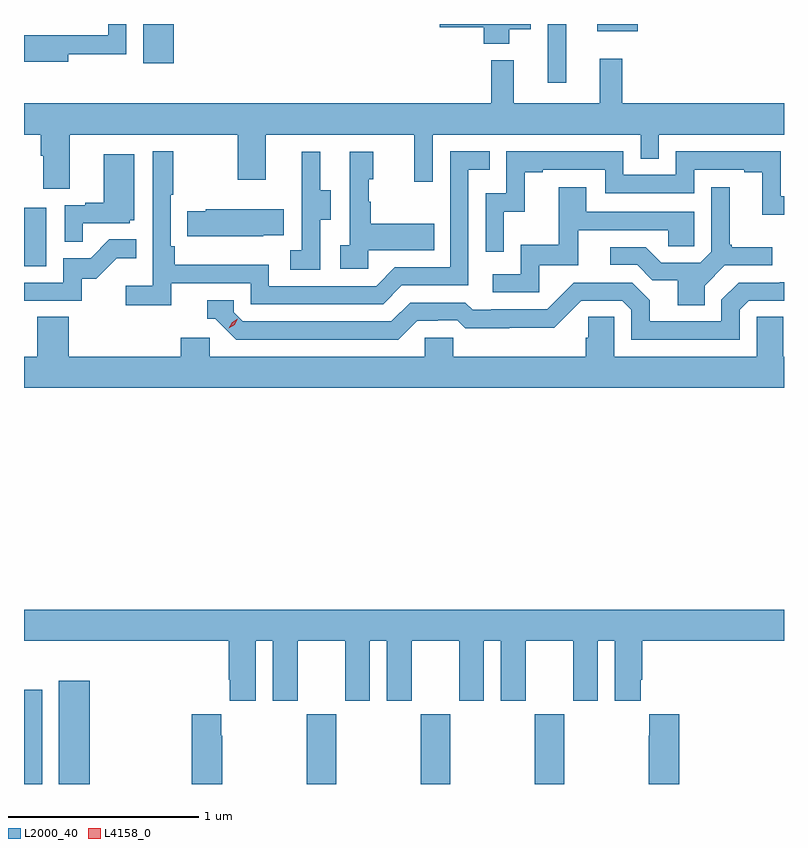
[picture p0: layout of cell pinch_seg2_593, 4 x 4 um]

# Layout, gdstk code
import gdstk
lib = gdstk.Library(unit=1e-6, precision=1e-09)
def R(c, l, rs):  # rectangles x0, y0, x1, y1
    for r in rs: c.add(gdstk.rectangle(r[:2], r[2:], *l))
def A(c, l, x, y, w, h, nx, ny, dx, dy):  # array of equal rectangles
    R(c, l, [(x+i*dx, y+j*dy, x+i*dx+w, y+j*dy+h) for i in range(nx) for j in range(ny)])
def P(c, l, *ps):  # polygons
    for p in ps: c.add(gdstk.Polygon(p, *l))
L2000_40 = (2000, 40)
L4158_0 = (4158, 0)

pinch_seg2_593 = lib.new_cell('pinch_seg2_593')
A(pinch_seg2_593, L2000_40, 1047.529, 613.582, 0.155, 0.366, 3, 1, 0.6, 0)
R(pinch_seg2_593, L2000_40, [(1046.041,613.582,1046.136,614.078), (1046.225,613.582,1046.386,614.125), (1046.041,616.308,1046.158,616.615), (1048.797,617.274,1048.894,617.582), (1046.669,617.376,1046.83,617.582), (1049.057,617.543,1049.272,617.582)])
P(pinch_seg2_593, L2000_40, [(1046.275,617.422),(1046.58,617.422),(1046.58,617.582),(1046.484,617.582),(1046.484,617.523),(1046.171,617.523),(1046.171,617.524),(1046.041,617.524),(1046.041,617.384),(1046.275,617.384)],
  [(1048.594,617.555),(1048.708,617.555),(1048.708,617.582),(1048.23,617.582),(1048.23,617.566),(1048.46,617.566),(1048.46,617.477),(1048.594,617.477)],
  [(1046.281,617),(1047.166,617),(1047.166,616.761),(1047.313,616.761),(1047.313,617),(1048.094,617),(1048.094,616.752),(1048.191,616.752),(1048.191,617),(1049.286,617),(1049.286,616.873),(1049.382,616.873),(1049.382,617),(1050.041,617),(1050.041,617.164),(1049.189,617.164),(1049.189,617.398),(1049.072,617.398),(1049.072,617.164),(1048.619,617.164),(1048.619,617.392),(1048.501,617.392),(1048.501,617.164),(1046.041,617.164),(1046.041,617),(1046.129,617),(1046.129,616.888),(1046.141,616.888),(1046.141,616.714),(1046.281,616.714)],
  [(1046.816,616.218),(1047.234,616.218),(1047.234,616.107),(1047.931,616.107),(1048.03,616.206),(1048.38,616.206),(1048.38,616.815),(1048.493,616.815),(1048.493,616.911),(1048.284,616.911),(1048.284,616.302),(1047.993,616.302),(1047.894,616.203),(1047.33,616.203),(1047.33,616.315),(1046.834,616.315),(1046.834,616.411),(1046.814,616.411),(1046.814,616.684),(1046.827,616.684),(1046.827,616.912),(1046.718,616.912),(1046.718,616.204),(1046.577,616.204),(1046.577,616.102),(1046.816,616.102)],
  [(1048.566,616.595),(1048.676,616.595),(1048.676,616.803),(1048.771,616.803),(1048.771,616.815),(1049.1,616.815),(1049.1,616.692),(1049.568,616.692),(1049.568,616.815),(1049.831,616.815),(1049.831,616.803),(1049.927,616.803),(1049.927,616.577),(1050.041,616.577),(1050.041,616.675),(1050.024,616.675),(1050.024,616.911),(1049.472,616.911),(1049.472,616.788),(1049.196,616.788),(1049.196,616.911),(1048.578,616.911),(1048.578,616.692),(1048.47,616.692),(1048.47,616.383),(1048.566,616.383)],
  [(1047.6,616.552),(1047.655,616.552),(1047.655,616.707),(1047.601,616.707),(1047.601,616.909),(1047.503,616.909),(1047.503,616.695),(1047.504,616.695),(1047.504,616.391),(1047.441,616.391),(1047.441,616.288),(1047.6,616.288)],
  [(1047.852,616.391),(1048.199,616.391),(1048.199,616.531),(1047.865,616.531),(1047.865,616.646),(1047.855,616.646),(1047.855,616.764),(1047.88,616.764),(1047.88,616.909),(1047.756,616.909),(1047.756,616.418),(1047.705,616.418),(1047.705,616.293),(1047.852,616.293)],
  [(1046.351,616.533),(1046.598,616.533),(1046.598,616.548),(1046.62,616.548),(1046.62,616.897),(1046.462,616.897),(1046.462,616.642),(1046.363,616.642),(1046.363,616.629),(1046.256,616.629),(1046.256,616.435),(1046.351,616.435)],
  [(1049.623,616.204),(1049.73,616.311),(1049.98,616.311),(1049.98,616.408),(1049.767,616.408),(1049.767,616.42),(1049.755,616.42),(1049.755,616.723),(1049.658,616.723),(1049.658,616.383),(1049.601,616.326),(1049.395,616.326),(1049.314,616.407),(1049.127,616.407),(1049.127,616.314),(1049.268,616.314),(1049.348,616.234),(1049.483,616.234),(1049.483,616.102),(1049.623,616.102)],
  [(1048.752,616.311),(1048.957,616.311),(1048.957,616.497),(1049.431,616.497),(1049.431,616.413),(1049.568,616.413),(1049.568,616.593),(1048.999,616.593),(1048.999,616.723),(1048.855,616.723),(1048.855,616.42),(1048.656,616.42),(1048.656,616.266),(1048.509,616.266),(1048.509,616.17),(1048.752,616.17)],
  [(1047.299,616.469),(1047.407,616.469),(1047.407,616.606),(1046.997,616.606),(1046.997,616.596),(1046.899,616.596),(1046.899,616.466),(1047.299,616.466)],
  [(1046.346,616.242),(1046.422,616.242),(1046.529,616.349),(1046.633,616.349),(1046.633,616.448),(1046.489,616.448),(1046.391,616.35),(1046.247,616.35),(1046.247,616.221),(1046.041,616.221),(1046.041,616.125),(1046.346,616.125)],
  [(1048.111,616.02),(1048.218,616.02),(1048.218,616.023),(1048.321,616.023),(1048.363,615.981),(1048.596,615.981),(1048.596,615.983),(1048.832,615.983),(1048.974,616.125),(1049.19,616.125),(1049.238,616.077),(1049.238,615.921),(1049.808,615.921),(1049.808,616.077),(1049.856,616.125),(1050.041,616.125),(1050.041,616.223),(1050.018,616.223),(1050.018,616.221),(1049.802,616.221),(1049.712,616.131),(1049.712,616.017),(1049.335,616.017),(1049.335,616.127),(1049.241,616.221),(1048.935,616.221),(1048.794,616.08),(1048.501,616.08),(1048.501,616.077),(1048.402,616.077),(1048.363,616.116),(1048.074,616.116),(1047.975,616.017),(1047.192,616.017),(1047.144,616.065),(1047.144,616.128),(1047.005,616.128),(1047.005,616.032),(1047.048,616.032),(1047.159,615.921),(1048.012,615.921)],
  [(1050.041,615.832),(1050.037,615.832),(1050.037,616.04),(1049.898,616.04),(1049.898,615.832),(1049.148,615.832),(1049.148,616.04),(1049.011,616.04),(1049.011,615.93),(1048.997,615.93),(1048.997,615.832),(1048.299,615.832),(1048.299,615.93),(1048.149,615.93),(1048.149,615.832),(1047.018,615.832),(1047.018,615.93),(1046.867,615.93),(1046.867,615.832),(1046.276,615.832),(1046.276,616.04),(1046.111,616.04),(1046.111,615.832),(1046.041,615.832),(1046.041,615.668),(1050.041,615.668)],
  [(1046.041,614.336),(1047.119,614.336),(1047.119,614.131),(1047.125,614.131),(1047.125,614.019),(1047.262,614.019),(1047.262,614.336),(1047.35,614.336),(1047.35,614.019),(1047.481,614.019),(1047.481,614.336),(1047.731,614.336),(1047.731,614.019),(1047.862,614.019),(1047.862,614.336),(1047.95,614.336),(1047.95,614.019),(1048.081,614.019),(1048.081,614.336),(1048.331,614.336),(1048.331,614.019),(1048.462,614.019),(1048.462,614.336),(1048.55,614.336),(1048.55,614.019),(1048.681,614.019),(1048.681,614.336),(1048.931,614.336),(1048.931,614.019),(1049.062,614.019),(1049.062,614.336),(1049.15,614.336),(1049.15,614.019),(1049.287,614.019),(1049.287,614.131),(1049.294,614.131),(1049.294,614.336),(1050.041,614.336),(1050.041,614.5),(1046.041,614.5)],
  [(1049.489,613.948),(1049.333,613.948),(1049.333,613.835),(1049.329,613.835),(1049.329,613.582),(1049.489,613.582)],
  [(1047.084,613.835),(1047.079,613.835),(1047.079,613.948),(1046.924,613.948),(1046.924,613.582),(1047.084,613.582)])
P(pinch_seg2_593, L4158_0, [(1047.119,615.98),(1047.119,615.981),(1047.136,616.013),(1047.167,616.032),(1047.167,616.032),(1047.167,616.032),(1047.15,615.999),(1047.119,615.98)])

lib.write_gds('pinch_seg2_593.gds')
